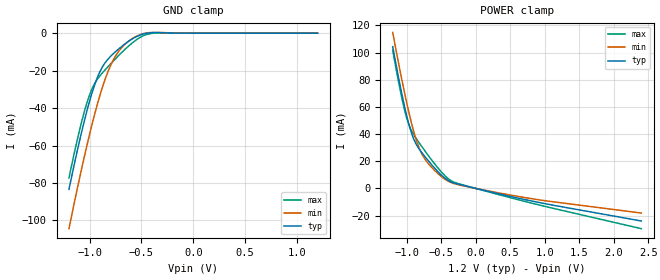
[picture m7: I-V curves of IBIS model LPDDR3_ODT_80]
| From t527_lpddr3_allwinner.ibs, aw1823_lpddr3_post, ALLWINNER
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|   Model LPDDR3_ODT_80
[Model] LPDDR3_ODT_80
Model_type Input
Polarity   Non-Inverting
Vinl =  0.600V
Vinh =  0.600V
C_comp   1.900pF   1.843pF   1.973pF
C_comp_pullup   1.173pF   1.171pF   1.178pF
C_comp_pulldown   0.601pF   0.485pF   0.766pF
[Model Spec]
Vinh   0.600V   0.570V   0.630V
Vinl   0.600V   0.570V   0.630V
[Temperature Range]   25.000   0.125k   -40.000
[Voltage Range]   1.200V   1.140V   1.260V
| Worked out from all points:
|   GND clamp passes 1 mA (typ) near -0.51 V on its own axis
|   POWER clamp passes 1 mA (typ) near -0.08 V on its own axis
[GND_clamp]
|Voltage   I(typ)   I(min)   I(max)
-1.2V     -83.43mA   -104.4mA   -77.32mA
-1.125V   -64.13mA   -84.46mA   -58.23mA
-1.05V    -46.5mA    -65.6mA    -41.57mA
-1V       -36.1mA    -53.82mA   -32.78mA
-925mV    -23.55mA   -37.78mA   -24.49mA
-850mV    -15.71mA   -24.43mA   -19.52mA
-775mV    -11.11mA   -14.59mA   -15.07mA
-700mV    -7.494mA   -8.286mA   -10.83mA
-625mV    -4.359mA   -4.298mA   -6.909mA
-500mV    -723uA     -543.2uA   -1.856mA
-375mV    296.1uA    424.4uA    44.18uA
1.2V      0A         0A         0A
[POWER_clamp]
|Voltage   I(typ)   I(min)   I(max)
-1.2V     104.3mA    114.8mA    101.6mA
-1.075V   71.32mA    81.8mA     68.29mA
-1V       53.95mA    63.63mA    52.24mA
-925mV    40.23mA    47.43mA    42.15mA
-850mV    31.6mA     34.25mA    35.97mA
-775mV    26.05mA    25.09mA    30.51mA
-700mV    21.28mA    19.23mA    25.24mA
-450mV    7.769mA    6.953mA    9.634mA
-375mV    5.242mA    4.728mA    6.311mA
-275mV    3.412mA    2.981mA    3.894mA
625mV     -7.269mA   -5.998mA   -8.442mA
2.4V      -24mA      -18.15mA   -29.65mA
